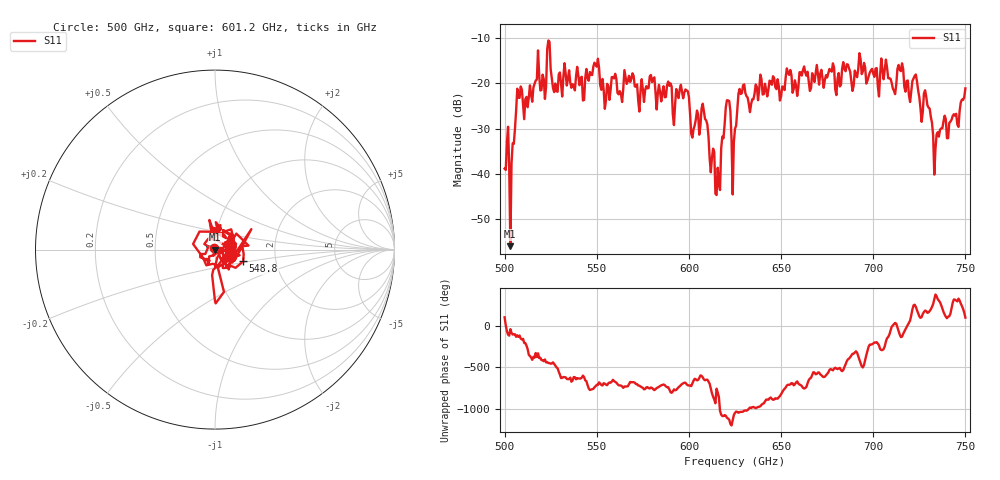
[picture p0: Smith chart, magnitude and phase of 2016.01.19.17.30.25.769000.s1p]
!Created with skrf (http://scikit-rf.org).
# GHz S RI R 50.0
!freq ReS11 ImS11
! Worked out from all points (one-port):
!   401 points, 500 GHz to 750 GHz, reference 50 ohm
!   lowest |S11| = -56.0 dB at 503.1 GHz (marker M1), VSWR 1.00, Z = 50.1 - j0.0997 ohm
!   |S11| at or under -10 dB: start of sweep to end of sweep
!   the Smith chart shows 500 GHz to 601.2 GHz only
!   S11 on the Smith chart (normalised r, x): 500 GHz: 0.99, +0.02; 548.8 GHz: 1.36, -0.18; 601.2 GHz: 1.06, -0.01
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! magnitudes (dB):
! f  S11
! 500 GHz  -38.9
! 503.1 GHz  -56.0
! 508.1 GHz  -23.2
! 521.2 GHz  -19.1
! 524.4 GHz  -10.8
! 527.5 GHz  -20.0
! 531.2 GHz  -22.9
! 541.9 GHz  -18.5
! 548.8 GHz  -15.4
! 562.5 GHz  -21.7
! 568.8 GHz  -19.0
! 593.8 GHz  -22.2
! 598.8 GHz  -21.5
! 601.2 GHz  -31.1
! 608.1 GHz  -26.1
! 615.6 GHz  -38.7
! 620.6 GHz  -23.7
! 625 GHz  -30.0
! 628.8 GHz  -22.1
! 656.2 GHz  -22.0
! 687.5 GHz  -17.4
! 705.6 GHz  -19.1
! 711.2 GHz  -21.6
! 715 GHz  -17.3
! 718.8 GHz  -19.3
! 728.8 GHz  -22.9
! 734.4 GHz  -31.3
! 750 GHz  -21.1
